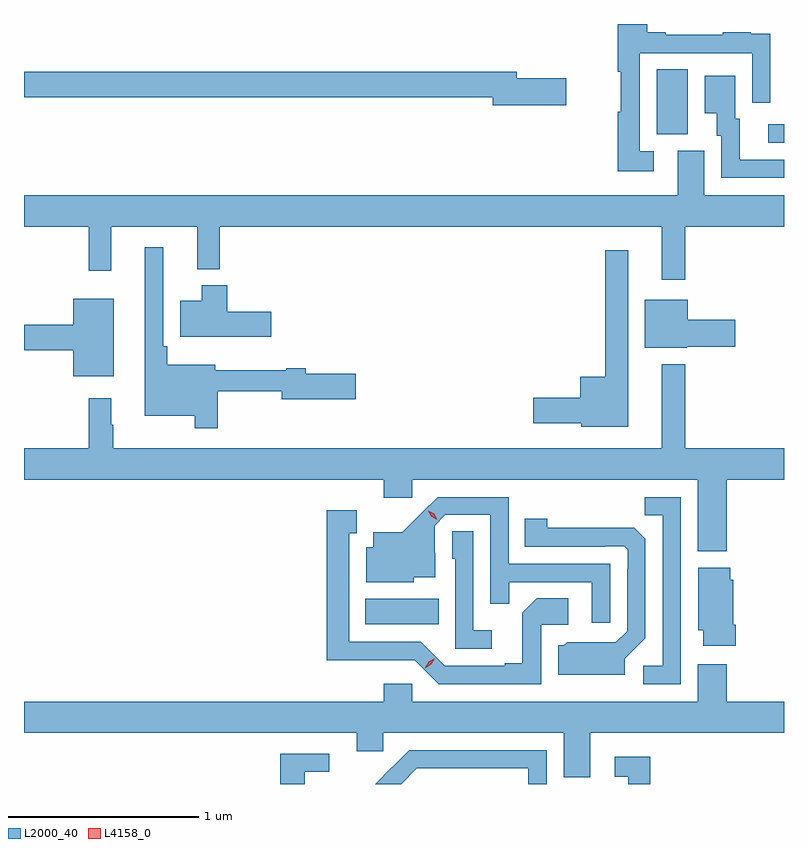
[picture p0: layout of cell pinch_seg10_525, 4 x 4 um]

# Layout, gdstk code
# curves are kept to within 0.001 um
import gdstk
lib = gdstk.Library(unit=1e-6, precision=1e-09)
def R(c, l, rs):  # rectangles x0, y0, x1, y1
    for r in rs: c.add(gdstk.rectangle(r[:2], r[2:], *l))
def P(c, l, *ps):  # polygons
    for p in ps: c.add(gdstk.Polygon(p, *l))
L2000_40 = (2000, 40)
L4158_0 = (4158, 0)

pinch_seg10_525 = lib.new_cell('pinch_seg10_525')
R(pinch_seg10_525, L2000_40, [(300.317,1264.922,300.704,1265.056), (302.436,1267.458,302.52,1267.554), (301.85,1267.501,302.014,1267.844)])
P(pinch_seg10_525, L2000_40, [(301.834,1267.413),(301.761,1267.413),(301.761,1267.929),(302.352,1267.929),(302.352,1267.668),(302.448,1267.668),(302.448,1267.922),(302.447,1267.922),(302.447,1268.031),(302.345,1268.031),(302.345,1268.038),(302.197,1268.038),(302.197,1268.025),(301.897,1268.025),(301.897,1268.038),(301.801,1268.038),(301.801,1268.082),(301.645,1268.082),(301.645,1267.832),(301.66,1267.832),(301.66,1267.62),(301.645,1267.62),(301.645,1267.308),(301.834,1267.308)],
  [(301.375,1267.796),(301.114,1267.796),(301.114,1267.832),(298.52,1267.832),(298.52,1267.696),(300.986,1267.696),(300.986,1267.654),(301.375,1267.654)],
  [(302.52,1267.368),(302.287,1267.368),(302.287,1267.584),(302.263,1267.584),(302.263,1267.81),(302.102,1267.81),(302.102,1267.613),(302.165,1267.613),(302.165,1267.494),(302.19,1267.494),(302.19,1267.272),(302.52,1267.272)],
  [(301.999,1267.016),(302.52,1267.016),(302.52,1267.18),(302.101,1267.18),(302.101,1267.416),(301.961,1267.416),(301.961,1267.18),(298.52,1267.18),(298.52,1267.016),(298.861,1267.016),(298.861,1266.783),(298.979,1266.783),(298.979,1267.016),(299.432,1267.016),(299.432,1266.791),(299.549,1266.791),(299.549,1267.016),(301.877,1267.016),(301.877,1266.735),(301.999,1266.735)],
  [(299.539,1266.15),(299.876,1266.15),(299.876,1266.107),(300.265,1266.107),(300.265,1266.242),(300.004,1266.242),(300.004,1266.271),(299.9,1266.271),(299.9,1266.259),(299.527,1266.259),(299.527,1266.289),(299.273,1266.289),(299.273,1266.385),(299.253,1266.385),(299.253,1266.907),(299.156,1266.907),(299.156,1266.02),(299.418,1266.02),(299.418,1265.955),(299.539,1265.955)],
  [(301.699,1266.892),(301.578,1266.892),(301.578,1266.226),(301.448,1266.226),(301.448,1266.116),(301.2,1266.116),(301.2,1265.981),(301.452,1265.981),(301.452,1265.963),(301.699,1265.963)],
  [(299.821,1266.567),(299.591,1266.567),(299.591,1266.706),(299.456,1266.706),(299.456,1266.625),(299.342,1266.625),(299.342,1266.437),(299.821,1266.437)],
  [(298.993,1266.637),(298.778,1266.637),(298.778,1266.5),(298.52,1266.5),(298.52,1266.364),(298.778,1266.364),(298.778,1266.227),(298.993,1266.227)],
  [(302.01,1266.383),(302.263,1266.383),(302.263,1266.525),(302.014,1266.525),(302.014,1266.631),(301.787,1266.631),(301.787,1266.377),(302.01,1266.377)],
  [(302.219,1265.684),(302.52,1265.684),(302.52,1265.848),(301.999,1265.848),(301.999,1266.292),(301.877,1266.292),(301.877,1265.848),(298.99,1265.848),(298.99,1265.972),(298.978,1265.972),(298.978,1266.112),(298.861,1266.112),(298.861,1265.848),(298.52,1265.848),(298.52,1265.684),(300.413,1265.684),(300.413,1265.589),(300.564,1265.589),(300.564,1265.684),(302.066,1265.684),(302.066,1265.306),(302.219,1265.306)],
  [(301.977,1265.592),(301.786,1265.592),(301.786,1265.497),(301.881,1265.497),(301.881,1264.704),(301.779,1264.704),(301.779,1264.608),(301.977,1264.608)],
  [(301.605,1265.241),(301.071,1265.241),(301.071,1265.592),(300.698,1265.592),(300.511,1265.407),(300.359,1265.407),(300.359,1265.329),(300.32,1265.329),(300.32,1265.144),(300.57,1265.144),(300.57,1265.171),(300.685,1265.171),(300.685,1265.3),(300.681,1265.3),(300.681,1265.442),(300.738,1265.499),(300.975,1265.499),(300.975,1265.032),(301.073,1265.032),(301.073,1265.145),(301.509,1265.145),(301.509,1264.932),(301.605,1264.932)],
  [(301.242,1264.92),(301.384,1264.92),(301.384,1265.06),(301.219,1265.06),(301.143,1264.984),(301.143,1264.717),(301.049,1264.717),(301.049,1264.704),(300.735,1264.704),(300.609,1264.83),(300.232,1264.83),(300.232,1265.403),(300.271,1265.403),(300.271,1265.524),(300.114,1265.524),(300.114,1264.733),(300.576,1264.734),(300.702,1264.608),(301.242,1264.608)],
  [(301.681,1264.74),(301.791,1264.85),(301.791,1265.372),(301.732,1265.431),(301.275,1265.432),(301.275,1265.479),(301.156,1265.479),(301.156,1265.331),(301.58,1265.331),(301.58,1265.334),(301.68,1265.334),(301.698,1265.316),(301.698,1265.216),(301.695,1265.216),(301.695,1264.887),(301.635,1264.827),(301.378,1264.828),(301.362,1264.812),(301.331,1264.812),(301.331,1264.658),(301.681,1264.658)],
  [(300.982,1264.891),(300.885,1264.891),(300.885,1265.411),(300.774,1265.411),(300.774,1265.268),(300.789,1265.268),(300.789,1264.794),(300.982,1264.794)],
  [(302.267,1264.921),(302.254,1264.921),(302.254,1265.157),(302.236,1265.157),(302.236,1265.221),(302.069,1265.221),(302.069,1264.89),(302.096,1264.89),(302.096,1264.809),(302.267,1264.809)],
  [(301.501,1264.352),(302.52,1264.352),(302.52,1264.516),(302.219,1264.516),(302.219,1264.711),(302.066,1264.711),(302.066,1264.516),(300.564,1264.516),(300.564,1264.609),(300.413,1264.609),(300.413,1264.516),(298.52,1264.516),(298.52,1264.352),(300.272,1264.352),(300.272,1264.254),(300.411,1264.254),(300.411,1264.352),(301.361,1264.352),(301.361,1264.117),(301.501,1264.117)],
  [(300.588,1264.164),(301.175,1264.164),(301.175,1264.082),(301.272,1264.082),(301.272,1264.26),(300.548,1264.26),(300.457,1264.169),(300.456,1264.17),(300.368,1264.082),(300.506,1264.082)],
  [(299.998,1264.146),(300.127,1264.146),(300.127,1264.242),(299.869,1264.242),(299.869,1264.082),(299.998,1264.082)],
  [(301.817,1264.225),(301.629,1264.225),(301.629,1264.119),(301.701,1264.119),(301.701,1264.082),(301.817,1264.082)])
P(pinch_seg10_525, L4158_0, [(300.696,1265.474),(300.665,1265.489),(300.648,1265.518),(300.648,1265.519),(300.648,1265.519),(300.679,1265.504),(300.696,1265.474),(300.696,1265.474)],
  [(300.632,1264.692),(300.632,1264.693),(300.65,1264.725),(300.682,1264.744),(300.682,1264.744),(300.682,1264.743),(300.664,1264.711),(300.632,1264.692)])

lib.write_gds('pinch_seg10_525.gds')
